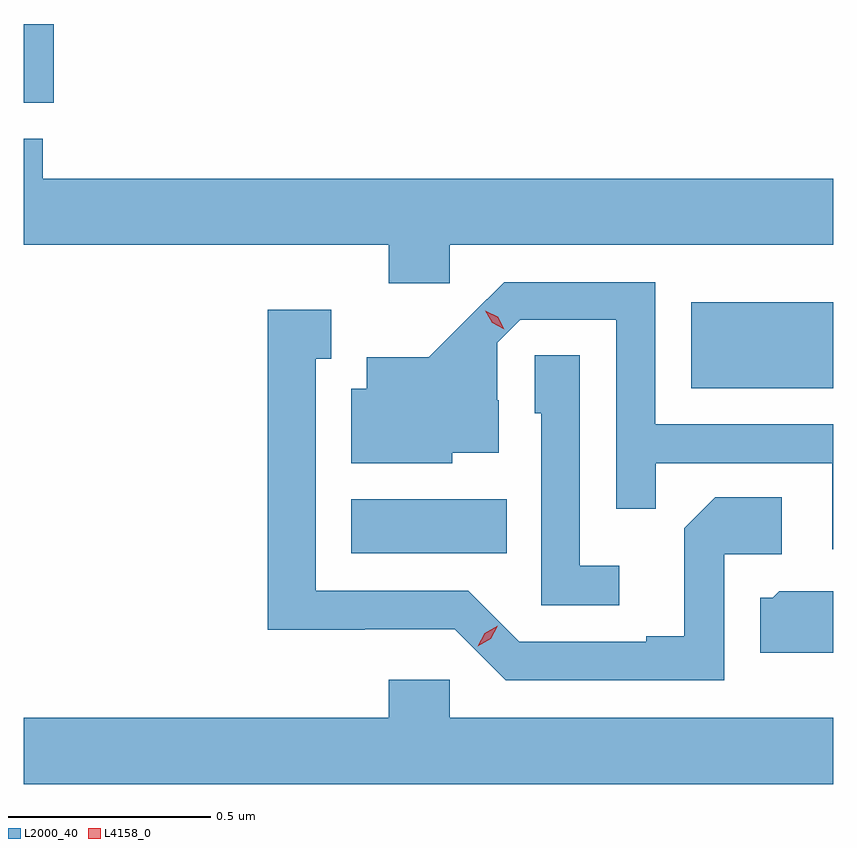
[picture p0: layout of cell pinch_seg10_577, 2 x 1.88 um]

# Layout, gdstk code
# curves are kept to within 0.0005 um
import gdstk
lib = gdstk.Library(unit=1e-6, precision=1e-09)
def R(c, l, rs):  # rectangles x0, y0, x1, y1
    for r in rs: c.add(gdstk.rectangle(r[:2], r[2:], *l))
def P(c, l, *ps):  # polygons
    for p in ps: c.add(gdstk.Polygon(p, *l))
L2000_40 = (2000, 40)
L4158_0 = (4158, 0)

pinch_seg10_577 = lib.new_cell('pinch_seg10_577')
R(pinch_seg10_577, L2000_40, [(301.874,1270.25,302.258,1270.384), (302.714,1270.658,303.065,1270.87), (301.065,1271.363,301.139,1271.558)])
P(pinch_seg10_577, L2000_40, [(302.118,1271.012),(303.065,1271.012),(303.065,1271.176),(301.112,1271.176),(301.112,1271.275),(301.065,1271.275),(301.065,1271.012),(301.967,1271.012),(301.967,1270.917),(302.118,1270.917)],
  [(303.065,1270.569),(302.625,1270.569),(302.625,1270.92),(302.252,1270.92),(302.065,1270.735),(301.913,1270.735),(301.913,1270.657),(301.874,1270.657),(301.874,1270.472),(302.124,1270.472),(302.124,1270.499),(302.239,1270.499),(302.239,1270.628),(302.235,1270.628),(302.235,1270.77),(302.292,1270.827),(302.529,1270.827),(302.529,1270.36),(302.627,1270.36),(302.627,1270.473),(303.063,1270.473),(303.063,1270.26),(303.065,1270.26)],
  [(302.796,1270.248),(302.938,1270.248),(302.938,1270.388),(302.773,1270.388),(302.697,1270.312),(302.697,1270.045),(302.603,1270.045),(302.603,1270.032),(302.289,1270.032),(302.163,1270.158),(301.786,1270.158),(301.786,1270.731),(301.825,1270.731),(301.825,1270.852),(301.668,1270.852),(301.668,1270.061),(301.908,1270.061),(301.908,1270.062),(302.13,1270.062),(302.256,1269.936),(302.796,1269.936)],
  [(302.536,1270.219),(302.439,1270.219),(302.439,1270.739),(302.328,1270.739),(302.328,1270.596),(302.343,1270.596),(302.343,1270.122),(302.536,1270.122)],
  [(303.065,1270.156),(302.932,1270.156),(302.916,1270.14),(302.885,1270.14),(302.885,1270.004),(303.065,1270.004)],
  [(303.065,1269.844),(302.118,1269.844),(302.118,1269.937),(301.967,1269.937),(301.967,1269.844),(301.065,1269.844),(301.065,1269.68),(303.065,1269.68)])
P(pinch_seg10_577, L4158_0, [(302.252,1270.804),(302.222,1270.82),(302.205,1270.849),(302.205,1270.85),(302.205,1270.85),(302.236,1270.834),(302.252,1270.804),(302.252,1270.804)],
  [(302.187,1270.02),(302.187,1270.02),(302.204,1270.052),(302.236,1270.071),(302.236,1270.071),(302.236,1270.071),(302.219,1270.039),(302.187,1270.02)])

lib.write_gds('pinch_seg10_577.gds')
